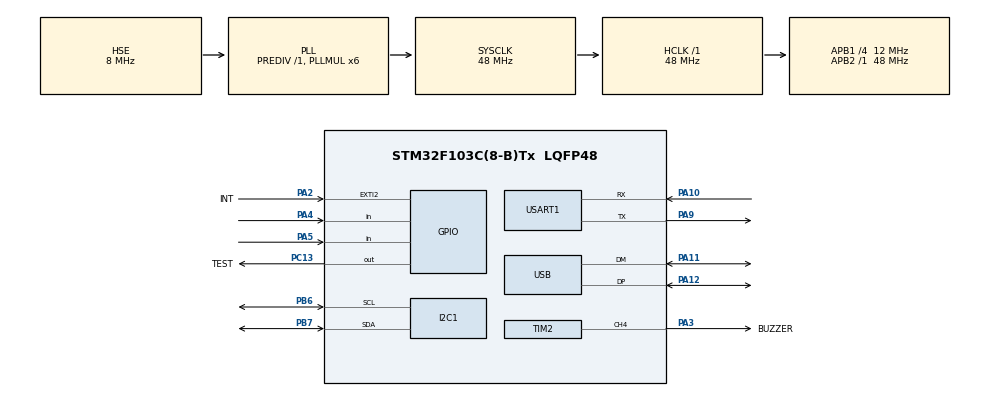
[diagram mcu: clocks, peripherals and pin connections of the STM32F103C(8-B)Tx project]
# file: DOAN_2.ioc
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I2C1.I2C_Mode=I2C_Fast
Mcu.Family=STM32F1
Mcu.Name=STM32F103C(8-B)Tx
Mcu.Package=LQFP48
NVIC.EXTI2_IRQn=true\:0\:0\:false\:false\:true\:true\:true\:true
NVIC.PriorityGroup=NVIC_PRIORITYGROUP_4
PA10.Mode=Asynchronous
PA10.Signal=USART1_RX
PA11.Mode=Device
PA11.Signal=USB_DM
PA12.Mode=Device
PA12.Signal=USB_DP
PA13.Mode=Serial_Wire
PA13.Signal=SYS_JTMS-SWDIO
PA14.Mode=Serial_Wire
PA14.Signal=SYS_JTCK-SWCLK
PA2.GPIO_Label=INT
PA2.GPIO_ModeDefaultEXTI=GPIO_MODE_IT_FALLING
PA2.GPIO_PuPd=GPIO_NOPULL
PA2.Signal=GPXTI2
PA3.GPIO_Label=BUZZER
PA3.Signal=S_TIM2_CH4
PA4.GPIO_Mode=GPIO_MODE_INPUT
PA4.GPIO_PuPd=GPIO_PULLUP
PA4.Signal=GPIO_Input
PA5.GPIO_PuPd=GPIO_PULLUP
PA5.Signal=GPIO_Input
PA9.Mode=Asynchronous
PA9.Signal=USART1_TX
PB6.Mode=I2C
PB6.Signal=I2C1_SCL
PB7.Mode=I2C
PB7.Signal=I2C1_SDA
PC13-TAMPER-RTC.GPIO_Label=TEST
PC13-TAMPER-RTC.Signal=GPIO_Output
PD0-OSC_IN.Mode=HSE-External-Oscillator
PD0-OSC_IN.Signal=RCC_OSC_IN
PD1-OSC_OUT.Mode=HSE-External-Oscillator
PD1-OSC_OUT.Signal=RCC_OSC_OUT
ProjectManager.HeapSize=0x200
ProjectManager.StackSize=0x400
ProjectManager.TargetToolchain=STM32CubeIDE
RCC.AHBFreq_Value=48000000
RCC.APB1CLKDivider=RCC_HCLK_DIV4
RCC.APB1Freq_Value=12000000
RCC.APB1TimFreq_Value=24000000
RCC.APB2Freq_Value=48000000
RCC.APB2TimFreq_Value=48000000
RCC.HCLKFreq_Value=48000000
RCC.PLLMUL=RCC_PLL_MUL6
RCC.SYSCLKFreq_VALUE=48000000
RCC.SYSCLKSource=RCC_SYSCLKSOURCE_PLLCLK
RCC.USBFreq_Value=48000000
SH.S_TIM2_CH4.0=TIM2_CH4,PWM Generation4 CH4
TIM2.Channel-PWM\ Generation4\ CH4=TIM_CHANNEL_4
TIM2.Prescaler=1
USART1.VirtualMode=VM_ASYNC
board=custom

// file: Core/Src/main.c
/* USER CODE BEGIN Header */
/**
  ******************************************************************************
  * @file           : main.c
  * @brief          : Main program body
  ******************************************************************************
  * @attention
  *
  * Copyright (c) 2024 STMicroelectronics.
  * All rights reserved.
  *
  * This software is licensed under terms that can be found in the LICENSE file
  * in the root directory of this software component.
  * If no LICENSE file comes with this software, it is provided AS-IS.
  *
  ******************************************************************************
  */
/* USER CODE END Header */
#include "main.h"

/* USER CODE BEGIN Includes */
#include <stdio.h>
#include <bitmaps.h>
#include <fonts.h>
#include <gifs.h>
#include <max30102.h>
#include <ssd1306.h>
/* USER CODE END Includes */

I2C_HandleTypeDef hi2c1;

TIM_HandleTypeDef htim2;

UART_HandleTypeDef huart1;

PCD_HandleTypeDef hpcd_USB_FS;

/* USER CODE BEGIN PV */
// printf() function
int __io_putchar(int ch)
{
  uint8_t temp = ch;
  HAL_UART_Transmit(&huart1, &temp, 1, HAL_MAX_DELAY);
  return ch;
}

// Override plot function
void max30102_plot(uint32_t ir_sample, uint32_t red_sample)
{
    // printf("ir:%u\n", ir_sample);                  // Print IR only
    // printf("r:%u\n", red_sample);                  // Print Red only
    printf("ir:%lu,r:%lu\n", ir_sample, red_sample);    // Print IR and Red

    if(ir_sample < 50000)
    {
    	SSD1306_GotoXY (0,0);
    	SSD1306_Puts ("No finger?", &Font_11x18, 1);
    	SSD1306_GotoXY (0, 30);
    	SSD1306_Puts (" ", &Font_11x18, 1);
    	SSD1306_UpdateScreen();
    }
    else
    {
        SSD1306_Clear();
        SSD1306_UpdateScreen();
    	SSD1306_Println("%lu", ir_sample);
    }
}
// MAX30102 object
max30102_t max30102;
uint32_t *value;
/* USER CODE END PV */

void SystemClock_Config(void);
static void MX_GPIO_Init(void);
static void MX_I2C1_Init(void);
static void MX_USB_PCD_Init(void);
static void MX_USART1_UART_Init(void);
static void MX_TIM2_Init(void);

int main(void)
{

  /* MCU Configuration--------------------------------------------------------*/

  /* Reset of all peripherals, Initializes the Flash interface and the Systick. */
  HAL_Init();

  /* Configure the system clock */
  SystemClock_Config();

  /* Initialize all configured peripherals */
  MX_GPIO_Init();
  MX_I2C1_Init();
  MX_USB_PCD_Init();
  MX_USART1_UART_Init();
  MX_TIM2_Init();
  /* USER CODE BEGIN 2 */
  // Initiation
  max30102_init(&max30102, &hi2c1);
  max30102_reset(&max30102);
  max30102_clear_fifo(&max30102);
  max30102_set_fifo_config(&max30102, max30102_smp_ave_8, 1, 7);

  // Sensor settings
  max30102_set_led_pulse_width(&max30102, max30102_pw_16_bit);
  max30102_set_adc_resolution(&max30102, max30102_adc_2048);
  max30102_set_sampling_rate(&max30102, max30102_sr_800);
  max30102_set_led_current_1(&max30102, 10);
  max30102_set_led_current_2(&max30102, 10);

  // Enter SpO2 mode
  max30102_set_mode(&max30102, max30102_spo2);
  max30102_set_a_full(&max30102, 1);

  // Initiate 1 temperature measurement
  max30102_set_die_temp_en(&max30102, 1);
  max30102_set_die_temp_rdy(&max30102, 1);

  uint8_t en_reg[2] = {0};
  max30102_read(&max30102, 0x00, en_reg, 1);
  SSD1306_Init();
  HAL_Delay(1000);
  /* USER CODE END 2 */

  /* Infinite loop */
  /* USER CODE BEGIN WHILE */
  while (1)
  {

	  max30102_interrupt_handler(&max30102);

    /* USER CODE END WHILE */

  }
}

void SystemClock_Config(void)
{
  RCC_OscInitTypeDef RCC_OscInitStruct = {0};
  RCC_ClkInitTypeDef RCC_ClkInitStruct = {0};
  RCC_PeriphCLKInitTypeDef PeriphClkInit = {0};

  /** Initializes the RCC Oscillators according to the specified parameters
  * in the RCC_OscInitTypeDef structure.
  */
  RCC_OscInitStruct.OscillatorType = RCC_OSCILLATORTYPE_HSE;
  RCC_OscInitStruct.HSEState = RCC_HSE_ON;
  RCC_OscInitStruct.HSEPredivValue = RCC_HSE_PREDIV_DIV1;
  RCC_OscInitStruct.HSIState = RCC_HSI_ON;
  RCC_OscInitStruct.PLL.PLLState = RCC_PLL_ON;
  RCC_OscInitStruct.PLL.PLLSource = RCC_PLLSOURCE_HSE;
  RCC_OscInitStruct.PLL.PLLMUL = RCC_PLL_MUL6;
  if (HAL_RCC_OscConfig(&RCC_OscInitStruct) != HAL_OK)
  {
    Error_Handler();
  }

  /** Initializes the CPU, AHB and APB buses clocks
  */
  RCC_ClkInitStruct.ClockType = RCC_CLOCKTYPE_HCLK|RCC_CLOCKTYPE_SYSCLK
                              |RCC_CLOCKTYPE_PCLK1|RCC_CLOCKTYPE_PCLK2;
  RCC_ClkInitStruct.SYSCLKSource = RCC_SYSCLKSOURCE_PLLCLK;
  RCC_ClkInitStruct.AHBCLKDivider = RCC_SYSCLK_DIV1;
  RCC_ClkInitStruct.APB1CLKDivider = RCC_HCLK_DIV4;
  RCC_ClkInitStruct.APB2CLKDivider = RCC_HCLK_DIV1;

  if (HAL_RCC_ClockConfig(&RCC_ClkInitStruct, FLASH_LATENCY_1) != HAL_OK)
  {
    Error_Handler();
  }
  PeriphClkInit.PeriphClockSelection = RCC_PERIPHCLK_USB;
  PeriphClkInit.UsbClockSelection = RCC_USBCLKSOURCE_PLL;
  if (HAL_RCCEx_PeriphCLKConfig(&PeriphClkInit) != HAL_OK)
  {
    Error_Handler();
  }
}

static void MX_I2C1_Init(void)
{

  hi2c1.Instance = I2C1;
  hi2c1.Init.ClockSpeed = 400000;
  hi2c1.Init.DutyCycle = I2C_DUTYCYCLE_2;
  hi2c1.Init.OwnAddress1 = 0;
  hi2c1.Init.AddressingMode = I2C_ADDRESSINGMODE_7BIT;
  hi2c1.Init.DualAddressMode = I2C_DUALADDRESS_DISABLE;
  hi2c1.Init.OwnAddress2 = 0;
  hi2c1.Init.GeneralCallMode = I2C_GENERALCALL_DISABLE;
  hi2c1.Init.NoStretchMode = I2C_NOSTRETCH_DISABLE;
  if (HAL_I2C_Init(&hi2c1) != HAL_OK)
  {
    Error_Handler();
  }

}

static void MX_TIM2_Init(void)
{

  TIM_MasterConfigTypeDef sMasterConfig = {0};
  TIM_OC_InitTypeDef sConfigOC = {0};

  htim2.Instance = TIM2;
  htim2.Init.Prescaler = 1;
  htim2.Init.CounterMode = TIM_COUNTERMODE_UP;
  htim2.Init.Period = 65535;
  htim2.Init.ClockDivision = TIM_CLOCKDIVISION_DIV1;
  htim2.Init.AutoReloadPreload = TIM_AUTORELOAD_PRELOAD_DISABLE;
  if (HAL_TIM_PWM_Init(&htim2) != HAL_OK)
  {
    Error_Handler();
  }
  sMasterConfig.MasterOutputTrigger = TIM_TRGO_RESET;
  sMasterConfig.MasterSlaveMode = TIM_MASTERSLAVEMODE_DISABLE;
  if (HAL_TIMEx_MasterConfigSynchronization(&htim2, &sMasterConfig) != HAL_OK)
  {
    Error_Handler();
  }
  sConfigOC.OCMode = TIM_OCMODE_PWM1;
  sConfigOC.Pulse = 0;
  sConfigOC.OCPolarity = TIM_OCPOLARITY_HIGH;
  sConfigOC.OCFastMode = TIM_OCFAST_DISABLE;
  if (HAL_TIM_PWM_ConfigChannel(&htim2, &sConfigOC, TIM_CHANNEL_4) != HAL_OK)
  {
    Error_Handler();
  }
  HAL_TIM_MspPostInit(&htim2);

}

static void MX_USART1_UART_Init(void)
{

  huart1.Instance = USART1;
  huart1.Init.BaudRate = 115200;
  huart1.Init.WordLength = UART_WORDLENGTH_8B;
  huart1.Init.StopBits = UART_STOPBITS_1;
  huart1.Init.Parity = UART_PARITY_NONE;
  huart1.Init.Mode = UART_MODE_TX_RX;
  huart1.Init.HwFlowCtl = UART_HWCONTROL_NONE;
  huart1.Init.OverSampling = UART_OVERSAMPLING_16;
  if (HAL_UART_Init(&huart1) != HAL_OK)
  {
    Error_Handler();
  }

}

static void MX_USB_PCD_Init(void)
{

  hpcd_USB_FS.Instance = USB;
  hpcd_USB_FS.Init.dev_endpoints = 8;
  hpcd_USB_FS.Init.speed = PCD_SPEED_FULL;
  hpcd_USB_FS.Init.low_power_enable = DISABLE;
  hpcd_USB_FS.Init.lpm_enable = DISABLE;
  hpcd_USB_FS.Init.battery_charging_enable = DISABLE;
  if (HAL_PCD_Init(&hpcd_USB_FS) != HAL_OK)
  {
    Error_Handler();
  }

}

static void MX_GPIO_Init(void)
{
  GPIO_InitTypeDef GPIO_InitStruct = {0};

  /* GPIO Ports Clock Enable */
  __HAL_RCC_GPIOC_CLK_ENABLE();
  __HAL_RCC_GPIOD_CLK_ENABLE();
  __HAL_RCC_GPIOA_CLK_ENABLE();
  __HAL_RCC_GPIOB_CLK_ENABLE();

  /*Configure GPIO pin Output Level */
  HAL_GPIO_WritePin(TEST_GPIO_Port, TEST_Pin, GPIO_PIN_RESET);

  /*Configure GPIO pin : TEST_Pin */
  GPIO_InitStruct.Pin = TEST_Pin;
  GPIO_InitStruct.Mode = GPIO_MODE_OUTPUT_PP;
  GPIO_InitStruct.Pull = GPIO_NOPULL;
  GPIO_InitStruct.Speed = GPIO_SPEED_FREQ_LOW;
  HAL_GPIO_Init(TEST_GPIO_Port, &GPIO_InitStruct);

  /*Configure GPIO pin : INT_Pin */
  GPIO_InitStruct.Pin = INT_Pin;
  GPIO_InitStruct.Mode = GPIO_MODE_IT_FALLING;
  GPIO_InitStruct.Pull = GPIO_NOPULL;
  HAL_GPIO_Init(INT_GPIO_Port, &GPIO_InitStruct);

  /*Configure GPIO pins : PA4 PA5 */
  GPIO_InitStruct.Pin = GPIO_PIN_4|GPIO_PIN_5;
  GPIO_InitStruct.Mode = GPIO_MODE_INPUT;
  GPIO_InitStruct.Pull = GPIO_PULLUP;
  HAL_GPIO_Init(GPIOA, &GPIO_InitStruct);

  /* EXTI interrupt init*/
  HAL_NVIC_SetPriority(EXTI2_IRQn, 0, 0);
  HAL_NVIC_EnableIRQ(EXTI2_IRQn);

}

/* USER CODE BEGIN 4 */
void HAL_GPIO_EXTI_Callback(uint16_t GPIO_Pin)
{
	if(GPIO_Pin == GPIO_PIN_2)
	{
		max30102_on_interrupt(&max30102);
		HAL_GPIO_TogglePin(GPIOC, GPIO_PIN_13);
		HAL_Delay(500);
	}
}

/* USER CODE END 4 */

void Error_Handler(void)
{
  __disable_irq();
  while (1)
  {
  }
}
